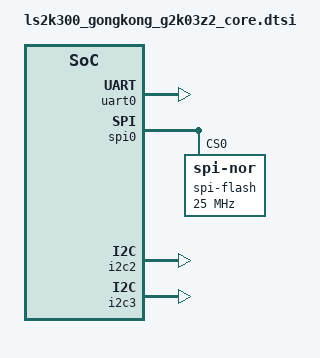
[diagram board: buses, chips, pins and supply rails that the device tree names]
#include "loongson-2k0300.dtsi"

/ {
	chosen {
		stdout-path = "serial0:115200n8";
		bootargs = "earlycon";
	};

	/* not need memory node, we get memory info from boot params. */
	//memory {
	//	name = "memory";
	//	device_type = "memory";
	//	reg =  <0 0x00200000 0 0x0ee00000
	//		0 0x90000000 0 0x10000000>;
	//};

	reserved-memory {
		#address-cells = <2>;
		#size-cells = <2>;
		ranges;

		linux,cma {
			compatible = "shared-dma-pool";
			reusable;
			size = <0 0x02000000>;
			linux,cma-default;
		};
	};
};

&uart0 {
	status = "okay";
};

&spi0 {
	status = "okay";

	spi-flash@0 {
		compatible = "jedec,spi-nor";
		spi-max-frequency = <25000000>;
		reg = <0>;
	};
};

&i2c2 {
	status = "okay";
	pinctrl-0 = <&i2c2_G82_G83_pins>;
};

&i2c3 {
	status = "okay";
	pinctrl-0 = <&i2c3_G84_G85_pins>;
};
